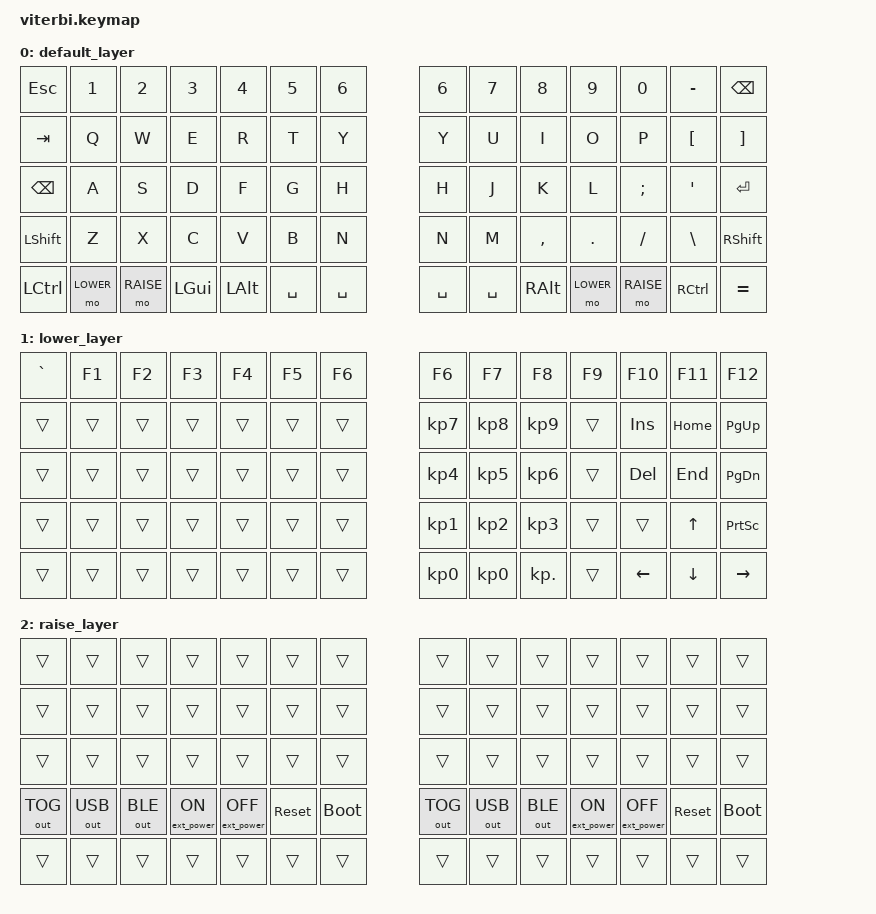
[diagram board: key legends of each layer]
#include <behaviors.dtsi>
#include <dt-bindings/zmk/keys.h>
#include <dt-bindings/zmk/bt.h>
#include <dt-bindings/zmk/ext_power.h>
#include <dt-bindings/zmk/outputs.h>

#define DEFAULT 0
#define LOWER	1
#define RAISE	2
/ {
  keymap {
    compatible = "zmk,keymap";

    default_layer {
// ------------------------------------------------------------------------------   ------------------------------------------------------------------------------
// | ESC      |    1     |    2     |    3     |    4     |     5    |     6    |   |    6     |     7    |     8    |     9    |     0    |    -     |   BSPC   |
// | TAB      |    Q     |    W     |    E     |    R     |     T    |     Y    |   |    Y     |     U    |     I    |     O    |     P    |    [     |    ]     |
// | BSPC     |    A     |    S     |    D     |    F     |     G    |     H    |   |    H     |     J    |     K    |     L    |     ;    |    '     |   RET    |
// | LSHIFT   |    Z     |    X     |    C     |    V     |     B    |     N    |   |    N     |     M    |     ,    |     .    |     /    |    \     |  RSHIFT  |
// | LCTRL    |  LOWER   |  RAISE   |  LGUI    |   LALT   |   SPACE  |   SPACE  |   |  SPACE   |  SPACE   |   RALT   |  LOWER   |   RAISE  |   RCTRL  |    =     |
// ------------------------------------------------------------------------------   ------------------------------------------------------------------------------
      bindings = <
    &kp ESC     &kp N1    &kp N2      &kp N3     &kp N4     &kp N5     &kp N6        &kp N6      &kp N7     &kp N8     &kp N9     &kp N0     &kp MINUS  &kp BSPC
    &kp TAB     &kp Q     &kp W       &kp E      &kp R      &kp T      &kp Y         &kp Y       &kp U      &kp I      &kp O      &kp P      &kp LBKT   &kp RBKT
    &kp BSPC    &kp A     &kp S       &kp D      &kp F      &kp G      &kp H         &kp H       &kp J      &kp K      &kp L      &kp SEMI   &kp SQT    &kp RET
    &kp LSHFT   &kp Z     &kp X       &kp C      &kp V      &kp B      &kp N         &kp N       &kp M      &kp COMMA  &kp DOT    &kp FSLH   &kp BSLH   &kp RSHFT
    &kp LCTRL   &mo LOWER &mo RAISE   &kp LGUI   &kp LALT   &kp SPACE  &kp SPACE     &kp SPACE   &kp SPACE  &kp RALT   &mo LOWER  &mo RAISE  &kp RCTRL  &kp EQUAL
      >;
    };

    lower_layer {
// ------------------------------------------------------------------------------   ------------------------------------------------------------------------------
// | `        |    F1    |    F2    |    F3    |    F4    |     F5   |    F6    |   |    F6    |    F7    |    F8    |    F9    |    F10   |   F11    |    F12   |
// |          |          |          |          |          |          |          |   |    7     |    8     |    9     |          |  INSERT  |   HOME   |   PGUP   |
// |          |          |          |          |          |          |          |   |    4     |    5     |    6     |          |  DELETE  |   END    |  PGDWN   |
// |          |          |          |          |          |          |          |   |    1     |    2     |    3     |          |          |    UP    | PRNTSCR  |
// |          |          |          |          |          |          |          |   |    0     |    0     |    .     |          |   LEFT   |   DOWN   |   RIGHT  |
// ------------------------------------------------------------------------------   ------------------------------------------------------------------------------
      bindings = <
    &kp GRAVE   &kp F1      &kp F2     &kp F3    &kp F4      &kp F5    &kp F6        &kp F6     &kp F7     &kp F8     &kp F9     &kp F10    &kp F11    &kp F12
    &trans      &trans      &trans     &trans    &trans      &trans    &trans        &kp KP_N7  &kp KP_N8  &kp KP_N9  &trans     &kp INS    &kp HOME   &kp PG_UP
    &trans      &trans      &trans     &trans    &trans      &trans    &trans        &kp KP_N4  &kp KP_N5  &kp KP_N6  &trans     &kp DEL    &kp END    &kp PG_DN
    &trans      &trans      &trans     &trans    &trans      &trans    &trans        &kp KP_N1  &kp KP_N2  &kp KP_N3  &trans     &trans     &kp UP     &kp PSCRN
    &trans      &trans      &trans     &trans    &trans      &trans    &trans        &kp KP_N0  &kp KP_N0  &kp KP_DOT &trans     &kp LEFT   &kp DOWN   &kp RIGHT
      >;
    };

    raise_layer {
// -------------------------------------------------------------------------------------------------------------------------------   -------------------------------------------------------------------------------------------------------------------------------
// |                 |                 |                 |                 |                 |                 |                 |   |                 |                 |                 |                 |                 |                 |                 |
// |                 |                 |                 |                 |                 |                 |                 |   |                 |                 |                 |                 |                 |                 |                 |
// |                 |                 |                 |                 |                 |                 |                 |   |                 |                 |                 |                 |                 |                 |                 |
// |   Out Toggle    |     Out USB     |     Out BT      |   Ext Pwr On    |   Ext Pwr Off   |       Reset     |   Bootloader    |   |   Out Toggle    |     Out USB     |     Out BT      |   Ext Pwr On    |   Ext Pwr Off   |      Reset      |   Bootloader    |
// |                 |                 |                 |                 |                 |                 |                 |   |                 |                 |                 |                 |                 |                 |                 |
// -------------------------------------------------------------------------------------------------------------------------------   -------------------------------------------------------------------------------------------------------------------------------
      bindings = <
    &trans            &trans            &trans            &trans            &trans            &trans            &trans                &trans            &trans            &trans            &trans            &trans            &trans            &trans
    &trans            &trans            &trans            &trans            &trans            &trans            &trans                &trans            &trans            &trans            &trans            &trans            &trans            &trans
    &trans            &trans            &trans            &trans            &trans            &trans            &trans                &trans            &trans            &trans            &trans            &trans            &trans            &trans
    &out OUT_TOG      &out OUT_USB      &out OUT_BLE      &ext_power EP_ON  &ext_power EP_OFF &sys_reset        &bootloader           &out OUT_TOG      &out OUT_USB      &out OUT_BLE      &ext_power EP_ON  &ext_power EP_OFF &sys_reset        &bootloader
    &trans            &trans            &trans            &trans            &trans            &trans            &trans                &trans            &trans            &trans            &trans            &trans            &trans            &trans
      >;
    };

  };
};
